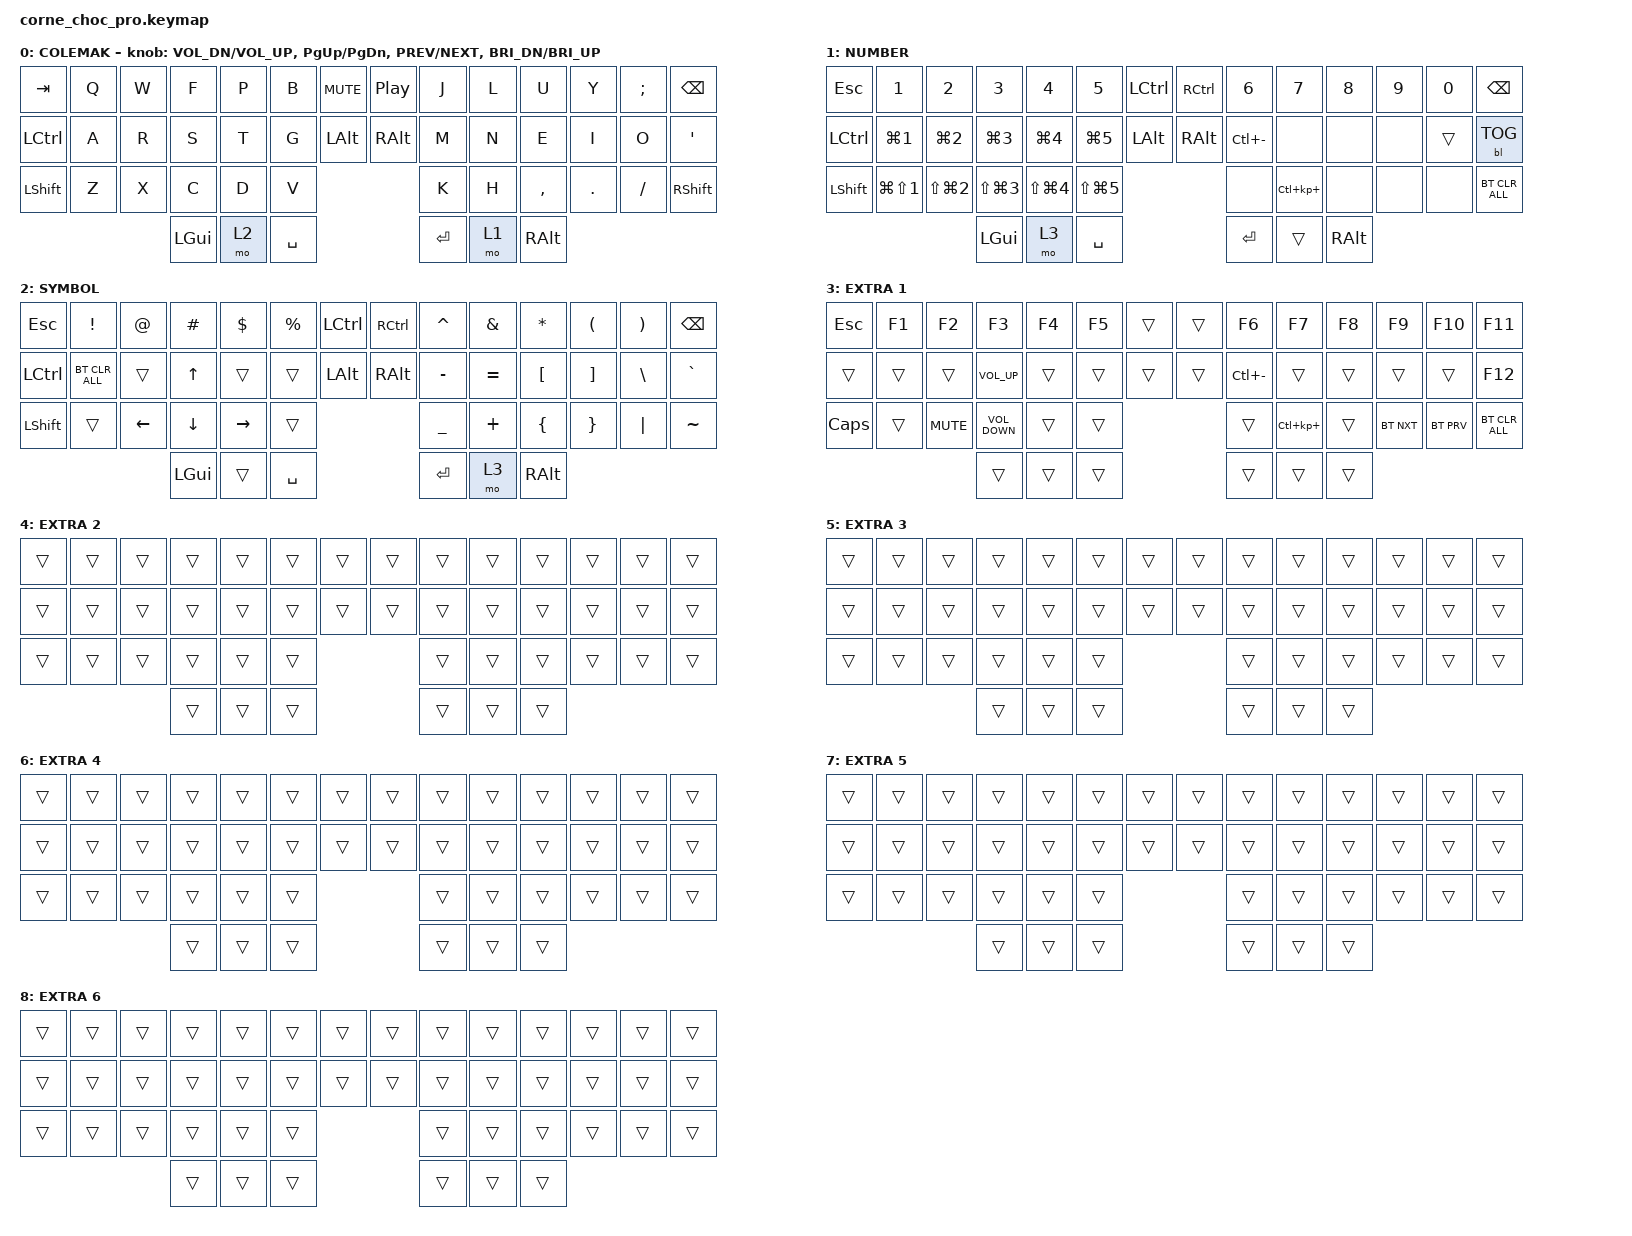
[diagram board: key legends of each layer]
/*
 * Copyright (c) 2020 The ZMK Contributors
 *
 * SPDX-License-Identifier: MIT
 */

#include <behaviors.dtsi>
#include <dt-bindings/zmk/backlight.h>
#include <dt-bindings/zmk/bt.h>
#include <dt-bindings/zmk/keys.h>

/ {
    chosen { zmk,physical-layout = &default_layout; };
};

/ {
    keymap {
        compatible = "zmk,keymap";

        default_layer {
            display-name = "COLEMAK";

            // --------------------------------------------------------------------------------
            // |  TAB |  Q  |  W  |  E  |  R  |  T  |  MUTE |  PP   |  Y  |  U   |  I  |  O  |  P  | BSPC |
            // | CTRL |  A  |  S  |  D  |  F  |  G  |  LALT |  RALT |  H  |  J   |  K  |  L  |  ;  |  '   |
            // | SHFT |  Z  |  X  |  C  |  V  |  B  |               |  N  |  M   |  ,  |  .  |  /  | ESC  |
            //                    | GUI | LWR | SPC |               | ENT | RSE  | ALT |

            bindings = <
&kp TAB    &kp Q  &kp W  &kp F     &kp P  &kp B      &kp C_MUTE  &kp C_PP  &kp J    &kp L  &kp U      &kp Y    &kp SEMICOLON  &kp BSPC
&kp LCTRL  &kp A  &kp R  &kp S     &kp T  &kp G      &kp LALT    &kp RALT  &kp M    &kp N  &kp E      &kp I    &kp O          &kp SQT
&kp LSHFT  &kp Z  &kp X  &kp C     &kp D  &kp V                            &kp K    &kp H  &kp COMMA  &kp DOT  &kp FSLH       &kp RIGHT_SHIFT
                         &kp LGUI  &mo 2  &kp SPACE                        &kp RET  &mo 1  &kp RALT
            >;

            sensor-bindings = <&inc_dec_kp C_VOL_DN C_VOL_UP &inc_dec_kp PG_UP PG_DN &inc_dec_kp C_PREV C_NEXT &inc_dec_kp C_BRI_DN C_BRI_UP>;
        };

        lower_layer {
            display-name = "NUMBER";

            // -----------------------------------------------------------------------------------------
            // |  TAB |  1  |  2  |  3  |  4  |  5    |  LCTRL | RCTRL |  6  |  7  |  8  |  9  |  0  | BSPC |
            // | CTRL | BT1 | BT2 | BT3 | BT4 | BT5   |  LALT  | RALT  | LFT | DWN |  UP | RGT |     |      |
            // | SHFT | BTCR| RGB | RST | BOOT| Unlock|        |       |     |     |     |     |     |      |
            //                    | GUI |     | SPC   |        | ENT   |     | ALT |

            bindings = <
&kp ESC    &kp N1                &kp N2                &kp N3                &kp N4                &kp N5          &kp LCTRL  &kp RCTRL  &kp N6         &kp N7           &kp N8    &kp N9  &kp N0  &kp BSPC
&kp LCTRL  &kp LG(NUMBER_1)      &kp LG(NUMBER_2)      &kp LG(NUMBER_3)      &kp LG(NUMBER_4)      &kp LG(N5)      &kp LALT   &kp RALT   &kp LC(MINUS)  &none            &none     &none   &trans  &bl BL_TOG
&kp LSHFT  &kp LG(LS(NUMBER_1))  &kp LS(LG(NUMBER_2))  &kp LS(LG(NUMBER_3))  &kp LS(LG(NUMBER_4))  &kp LS(LG(N5))                        &none          &kp LC(KP_PLUS)  &none     &none   &none   &bt BT_CLR_ALL
                                                       &kp LGUI              &mo 3                 &kp SPACE                             &kp RET        &trans           &kp RALT
            >;
        };

        raise_layer {
            display-name = "SYMBOL";

            // -----------------------------------------------------------------------------------------
            // |  TAB |  !  |  @  |  #  |  $  |  %  | LCTRL | RCTRL |  ^  |  &  |  *  |  (  |  )  | BSPC |
            // | CTRL |     |     |     |     |     |  LALT | RALT  |  -  |  =  |  [  |  ]  |  \  |  `   |
            // | SHFT |     |     |     |     |     |               |  _  |  +  |  {  |  }  | "|" |  ~   |
            //                    | GUI |     | SPC |               | ENT |     | ALT |

            bindings = <
&kp ESCAPE  &kp EXCL        &kp AT    &kp HASH      &kp DLLR   &kp PRCNT  &kp LCTRL  &kp RCTRL  &kp CARET  &kp AMPS   &kp ASTRK  &kp LPAR  &kp RPAR  &kp BSPC
&kp LCTRL   &bt BT_CLR_ALL  &trans    &kp UP_ARROW  &trans     &trans     &kp LALT   &kp RALT   &kp MINUS  &kp EQUAL  &kp LBKT   &kp RBKT  &kp BSLH  &kp GRAVE
&kp LSHFT   &trans          &kp LEFT  &kp DOWN      &kp RIGHT  &trans                           &kp UNDER  &kp PLUS   &kp LBRC   &kp RBRC  &kp PIPE  &kp TILDE
                                      &kp LGUI      &trans     &kp SPACE                        &kp RET    &mo 3      &kp RALT
            >;
        };

        extra_layer_1 {
            display-name = "EXTRA 1";
            bindings = <
&kp ESCAPE  &kp F1  &kp F2      &kp F3             &kp F4  &kp F5  &trans  &trans  &kp F6         &kp F7           &kp F8  &kp F9      &kp F10     &kp F11
&trans      &trans  &trans      &kp C_VOLUME_UP    &trans  &trans  &trans  &trans  &kp LC(MINUS)  &trans           &trans  &trans      &trans      &kp F12
&kp CAPS    &trans  &kp K_MUTE  &kp C_VOLUME_DOWN  &trans  &trans                  &trans         &kp LC(KP_PLUS)  &trans  &bt BT_NXT  &bt BT_PRV  &bt BT_CLR_ALL
                                &trans             &trans  &trans                  &trans         &trans           &trans
            >;
        };

        extra_layer_2 {
            display-name = "EXTRA 2";
            bindings = <
&trans  &trans  &trans  &trans  &trans  &trans  &trans  &trans  &trans  &trans  &trans  &trans  &trans  &trans
&trans  &trans  &trans  &trans  &trans  &trans  &trans  &trans  &trans  &trans  &trans  &trans  &trans  &trans
&trans  &trans  &trans  &trans  &trans  &trans                  &trans  &trans  &trans  &trans  &trans  &trans
                        &trans  &trans  &trans                  &trans  &trans  &trans
            >;
        };

        extra_layer_3 {
            display-name = "EXTRA 3";
            bindings = <
&trans  &trans  &trans  &trans  &trans  &trans  &trans  &trans  &trans  &trans  &trans  &trans  &trans  &trans
&trans  &trans  &trans  &trans  &trans  &trans  &trans  &trans  &trans  &trans  &trans  &trans  &trans  &trans
&trans  &trans  &trans  &trans  &trans  &trans                  &trans  &trans  &trans  &trans  &trans  &trans
                        &trans  &trans  &trans                  &trans  &trans  &trans
            >;
        };

        extra_layer_4 {
            display-name = "EXTRA 4";
            bindings = <
&trans  &trans  &trans  &trans  &trans  &trans  &trans  &trans  &trans  &trans  &trans  &trans  &trans  &trans
&trans  &trans  &trans  &trans  &trans  &trans  &trans  &trans  &trans  &trans  &trans  &trans  &trans  &trans
&trans  &trans  &trans  &trans  &trans  &trans                  &trans  &trans  &trans  &trans  &trans  &trans
                        &trans  &trans  &trans                  &trans  &trans  &trans
            >;
        };

        extra_layer_5 {
            display-name = "EXTRA 5";
            bindings = <
&trans  &trans  &trans  &trans  &trans  &trans  &trans  &trans  &trans  &trans  &trans  &trans  &trans  &trans
&trans  &trans  &trans  &trans  &trans  &trans  &trans  &trans  &trans  &trans  &trans  &trans  &trans  &trans
&trans  &trans  &trans  &trans  &trans  &trans                  &trans  &trans  &trans  &trans  &trans  &trans
                        &trans  &trans  &trans                  &trans  &trans  &trans
            >;
        };

        extra_layer_6 {
            display-name = "EXTRA 6";
            bindings = <
&trans  &trans  &trans  &trans  &trans  &trans  &trans  &trans  &trans  &trans  &trans  &trans  &trans  &trans
&trans  &trans  &trans  &trans  &trans  &trans  &trans  &trans  &trans  &trans  &trans  &trans  &trans  &trans
&trans  &trans  &trans  &trans  &trans  &trans                  &trans  &trans  &trans  &trans  &trans  &trans
                        &trans  &trans  &trans                  &trans  &trans  &trans
            >;
        };
    };
};
